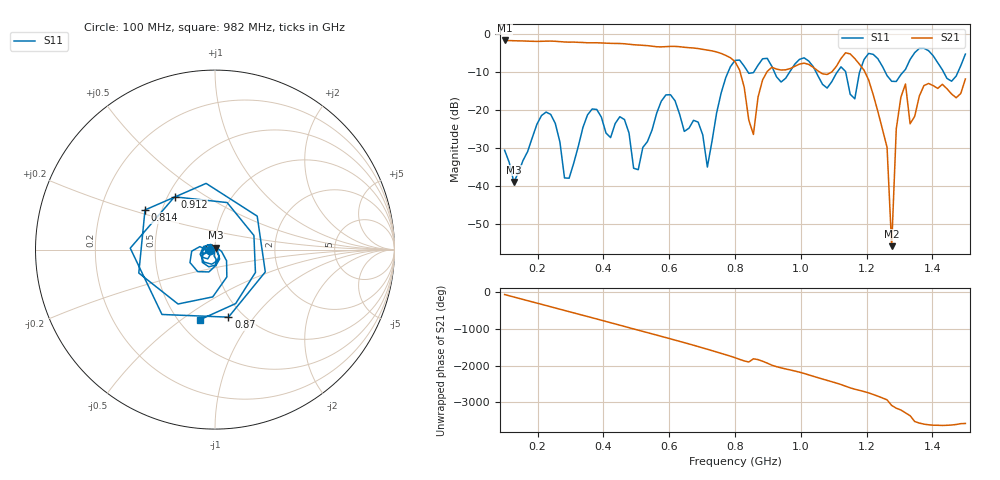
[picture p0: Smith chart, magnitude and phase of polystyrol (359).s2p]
! NanoVNA-App
! Date: 2025-09-25 15:32:41
! Start: 100MHz Stop: 1,5GHz Points: 101
! S-Parameter data: F S11 S21 S12 S22
# Hz S RI R 50
!  Frequency  S11_Real  S11_Imag  S21_Real  S21_Imag  S12_Real  S12_Imag  S22_Real  S22_Imag
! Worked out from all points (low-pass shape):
!   101 points, 100 MHz to 1.5 GHz, reference 50 ohm
!   highest |S21| = -1.80 dB at 100 MHz (marker M1); lowest = -56.0 dB at 1.276 GHz (marker M2)
!   |S21| within 3 dB of the highest: start of sweep to 743 MHz
!   lowest |S11| = -39.1 dB at 128 MHz (marker M3), VSWR 1.02, Z = 50.3 + j1.06 ohm
!   |S11| at or under -10 dB: start of sweep to 779.7 MHz; 1.046 GHz to 1.112 GHz (66.08 MHz wide, 6.13 % of centre); 1.256 GHz to 1.312 GHz (56.13 MHz wide, 4.37 % of centre) (the widest 3 of 7)
!   S12 and S22 are empty: the file has one direction only
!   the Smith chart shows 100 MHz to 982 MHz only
!   S11 on the Smith chart (normalised r, x): 100 MHz: 0.94, -0.01; 814 MHz: 0.40, +0.22; 870 MHz: 0.86, -0.75; 912 MHz: 0.54, +0.37; 982 MHz: 0.64, -0.59
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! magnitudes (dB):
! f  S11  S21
! 100 MHz  -30.7  -1.8
! 128 MHz  -39.1  -1.9
! 212 MHz  -21.6  -2.0
! 282 MHz  -38.0  -2.2
! 338 MHz  -24.7  -2.3
! 506 MHz  -35.8  -3.0
! 576 MHz  -17.8  -3.5
! 716 MHz  -35.1  -4.3
! 800 MHz  -7.0  -7.4
! 814 MHz  -7.0  -9.6
! 856 MHz  -10.3  -26.5
! 870 MHz  -8.3  -16.7
! 912 MHz  -8.6  -8.9
! 982 MHz  -8.0  -8.6
! 1.038 GHz  -8.7  -8.9
! 1.164 GHz  -17.2  -6.6
! 1.206 GHz  -5.2  -12.2
! 1.262 GHz  -11.0  -29.9
! 1.276 GHz  -12.6  -56.0
! 1.29 GHz  -12.6  -25.1
! 1.318 GHz  -9.4  -13.3
! 1.5 GHz  -5.4  -11.9
